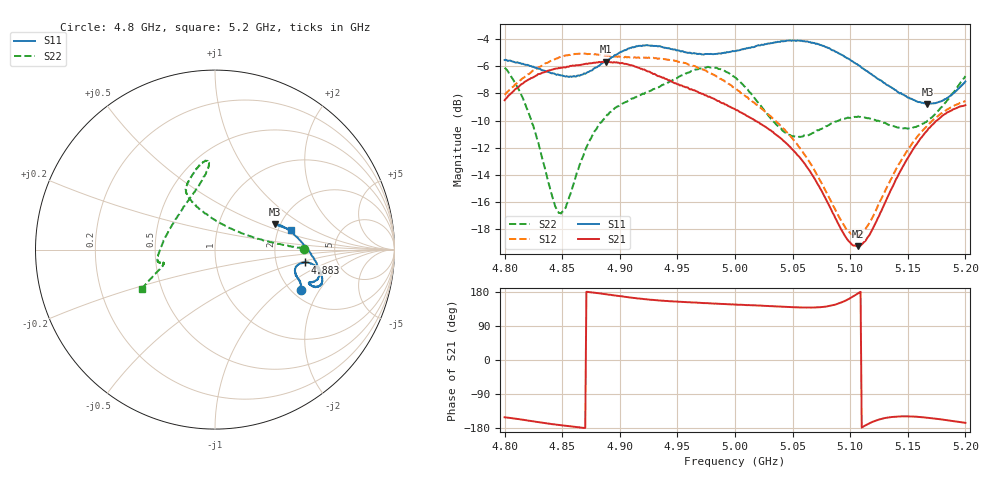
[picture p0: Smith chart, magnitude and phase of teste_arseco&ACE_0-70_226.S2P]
! Network Analyzer HP8722D
! Hewlett-Packard
! Data name: Linha & Wilkinson
! Saver's name: Rodrigo Anjos
! Comments: Teste da utilização de aquisição
! continua pelo VNA HP8722D
! Time and date: 8/5/2025 14:38
!  Frequency  S11  S21  S12  S22
# HZ  S  MA R 50
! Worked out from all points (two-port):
!   401 points, 4.8 GHz to 5.2 GHz, reference 50 ohm
!   highest |S21| = -5.65 dB at 4.888 GHz (marker M1); lowest = -19.3 dB at 5.107 GHz (marker M2)
!   |S21| within 3 dB of the highest: start of sweep to 4.987 GHz
!   lowest |S11| = -8.8 dB at 5.167 GHz (marker M3), VSWR 2.15, Z = 94.1 + j30.6 ohm
!   |S11| at or under -10 dB: nowhere
!   |S22| runs from -16.8 to -6.0 dB; largest |S21 - S12| = 1.1
!   S11 on the Smith chart (normalised r, x): 4.8 GHz: 2.24, -1.39; 4.883 GHz: 2.94, -0.57; 5.2 GHz: 2.36, +0.65
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4.8e9  0.5287 -25.1  0.3758 -151.1  0.3936 8.4  0.4946 0.6
4.82e9  0.5073 -20.6  0.446 -159.5  0.468 5.4  0.3455 5.7
4.842e9  0.4723 -17.0  0.488 -169.5  0.5277 1.9  0.1631 38.3
4.847e9  0.4662 -16.1  0.4945 -171.4  0.5397 0.9  0.1444 56.8
4.853e9  0.4595 -14.8  0.4961 -173.7  0.5494 -0.1  0.1509 79.9
4.867e9  0.4664 -10.8  0.5083 -178.5  0.5584 -2.1  0.228 108.7
4.883e9  0.5078 -8.1  0.5187 175.5  0.5519 -3.4  0.3106 116.2
4.888e9  0.5231 -8.1  0.5217 173.4  0.5494 -3.2  0.3262 116.9
4.909e9  0.586 -10.9  0.5063 164.9  0.54 -2.7  0.3775 115.4
4.934e9  0.5948 -16.2  0.4608 156.9  0.5358 -3.4  0.4198 109.0
4.975e9  0.5563 -19.6  0.3918 150.0  0.4827 -6.9  0.4957 96.6
5e9  0.5702 -20.4  0.3484 146.2  0.4163 -6.7  0.4563 94.9
5.044e9  0.6208 -18.4  0.2619 140.2  0.2893 1.5  0.2847 132.1
5.067e9  0.6125 -13.9  0.1992 138.4  0.2147 8.7  0.2841 164.9
5.095e9  0.5442 -4.1  0.1197 155.1  0.1293 35.6  0.3212 -172.6
5.107e9  0.5064 1.6  0.1089 176.3  0.1193 58.9  0.3273 -168.7
5.116e9  0.4761 6.2  0.1186 -168.2  0.1313 76.0  0.3226 -167.2
5.134e9  0.4231 15.1  0.1705 -151.2  0.187 94.5  0.3042 -166.5
5.152e9  0.3812 21.3  0.2378 -149.0  0.2534 99.7  0.2959 -164.6
5.167e9  0.3645 22.8  0.2911 -152.4  0.3035 100.3  0.3157 -161.5
5.183e9  0.3801 20.4  0.3356 -158.4  0.3447 100.3  0.3696 -157.1
5.2e9  0.4405 14.7  0.3603 -165.9  0.3737 100.8  0.4611 -151.8
